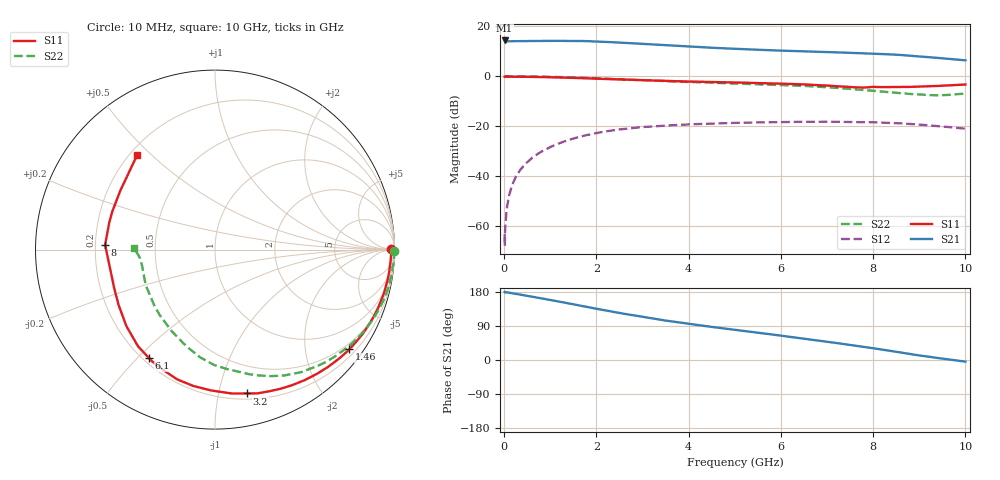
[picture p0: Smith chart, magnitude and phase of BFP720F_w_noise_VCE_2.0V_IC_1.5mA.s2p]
! Infineon Technologies  Discrete & RF Semiconductors
! BFP720F
! VCE =  2.0 V,  IC =  1.5 mA
! Common Emitter S-Parameters:  Jan 2016
# GHz  S  MA  R  50
!  f  S11  S21  S12  S22
! GHz  MAG  ANG  MAG  ANG  MAG  ANG  MAG  ANG
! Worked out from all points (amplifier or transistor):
!   233 points, 10 MHz to 10 GHz, reference 50 ohm
!   highest |S21| = 14.3 dB at 10 MHz (marker M1)
!   |S21| within 3 dB of that: start of sweep to 4.596 GHz
!   unconditionally stable (mu >= 1): nowhere
!   at 200 MHz: K = 0.01, MSG = 28.2 dB, |S12| = -42.4 dB
!   at 1.74 GHz: K = 0.13, MSG = 18.9 dB, |S12| = -23.7 dB
!   at 10 GHz: K = 0.93, MSG = 13.7 dB, |S12| = -21.0 dB
!   lowest NFmin = 0.44 dB at 450 MHz
!   S11 on the Smith chart (normalised r, x): 10 MHz: 91, +7; 1.46 GHz: 0.36, -2.99; 3.2 GHz: 0.25, -1.22; 6.1 GHz: 0.22, -0.54; 8 GHz: 0.24, +0.02; 10 GHz: 0.23, +0.45
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0.01  0.9783 0.1  5.202 179.7  0.0007 -29.3  0.9973 -0.3
0.015  0.9804 -0.2  5.081 179.0  0.0004 36.0  0.9986 -0.7
0.02  0.9825 -0.4  4.961 178.2  0.0008 88.7  1 -1.0
0.03  0.9822 -0.7  4.975 178.4  0.0012 87.8  0.9993 -1.0
0.07  0.9815 -1.7  5.007 178.3  0.0027 88.1  0.9981 -1.3
0.115  0.9812 -2.8  5.02 177.4  0.0044 88.6  0.9984 -2.1
0.32  0.978 -7.7  5.041 173.1  0.0123 84.6  0.9946 -5.9
0.88  0.9617 -21.6  5.117 161.1  0.0338 73.9  0.981 -16.2
1.46  0.9318 -36.5  5.07 148.0  0.0554 62.2  0.9495 -27.5
1.68  0.9171 -42.4  5.074 142.7  0.063 57.6  0.9343 -31.8
2.4  0.8693 -60.3  4.77 126.3  0.0841 42.9  0.8802 -45.3
3.2  0.8214 -77.4  4.336 110.1  0.0991 28.6  0.82 -57.3
3.4  0.8113 -81.2  4.239 106.1  0.1021 25.3  0.8064 -59.9
4  0.785 -91.6  3.941 95.4  0.1093 16.5  0.7702 -66.3
5.1  0.7478 -107.6  3.512 78.1  0.1172 2.4  0.7116 -75.9
6.1  0.7075 -121.3  3.238 62.9  0.1216 -9.4  0.6629 -85.5
6.8  0.664 -134.8  3.101 51.6  0.1229 -18.1  0.6199 -94.7
7.4  0.6195 -150.1  2.966 41.5  0.1221 -25.7  0.5686 -104.9
8  0.6129 177.5  2.842 31.1  0.1202 -33.6  0.5151 -117.8
8.4  0.6082 165.4  2.729 23.6  0.1166 -39.4  0.4771 -130.3
9  0.6213 148.2  2.506 12.0  0.1081 -47.9  0.4338 -152.9
10  0.6837 129.2  2.084 -4.3  0.0894 -58.4  0.4514 178.6
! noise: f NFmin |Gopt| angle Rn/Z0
0.45  0.44  0.75  5  0.37
0.9  0.55  0.75  12  0.34
1.8  0.57  0.74  25  0.28
2.4  0.59  0.74  31  0.27
5.5  0.96  0.53  91  0.17
10  1.49  0.36  -141  0.14
